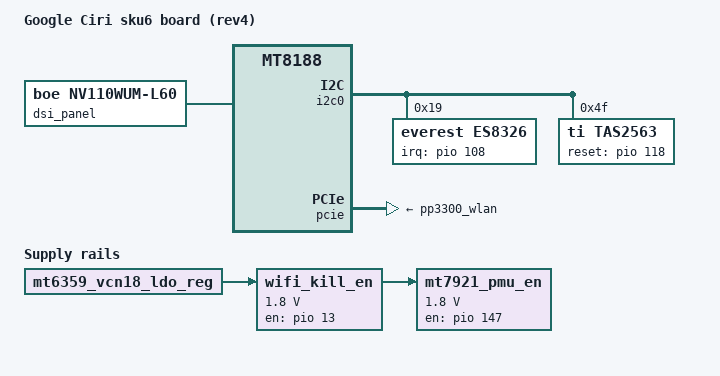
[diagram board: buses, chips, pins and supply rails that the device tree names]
// SPDX-License-Identifier: (GPL-2.0 OR MIT)
/*
 * Copyright 2024 Google LLC
 */
/dts-v1/;
#include "mt8188-geralt-ciri.dtsi"

/ {
	model = "Google Ciri sku6 board (rev4)";
	compatible = "google,ciri-sku6", "google,ciri", "mediatek,mt8188";
};

&dsi_panel {
	compatible = "boe,nv110wum-l60", "himax,hx83102";
};

&i2c0 {
	/delete-node/ audio-codec@1a;
	/delete-node/ amplifier@38;
	/delete-node/ amplifier@39;

	es8326: audio-codec@19 {
		compatible = "everest,es8326";
		reg = <0x19>;
		interrupts-extended = <&pio 108 IRQ_TYPE_LEVEL_LOW>;
		pinctrl-names = "default";
		pinctrl-0 = <&audio_codec_pins>;
		#sound-dai-cells = <0>;
		everest,jack-pol = [0e];
		everest,interrupt-clk = [00];
	};

	tas2563: amplifier@4f {
		compatible = "ti,tas2563", "ti,tas2781";
		reg = <0x4f>, <0x4c>; /* left / right channel */
		reset-gpios = <&pio 118 GPIO_ACTIVE_HIGH>;
		#sound-dai-cells = <0>;
	};
};

&sound {
	compatible = "mediatek,mt8188-es8326";
	model = "mt8188_tas2563_8326";

	audio-routing =
		"ETDM1_OUT", "ETDM_SPK_PIN",
		"ETDM2_OUT", "ETDM_HP_PIN",
		"ETDM1_IN", "ETDM_SPK_PIN",
		"ETDM2_IN", "ETDM_HP_PIN",
		"ADDA Capture", "MTKAIF_PIN",
		"Headphone Jack", "HPOL",
		"Headphone Jack", "HPOR",
		"MIC1", "Headset Mic";

	dai-link-1 {
		codec {
			sound-dai = <&tas2563>;
		};
	};

	dai-link-2 {
		codec {
			sound-dai = <&es8326>;
		};
	};

	dai-link-3 {
		codec {
			sound-dai = <&es8326>;
		};
	};
};

/ {

	wifi_kill_en: regulator-wifi-kill-en {
		compatible = "regulator-fixed";
		regulator-name = "wifi_kill_en";
		regulator-min-microvolt = <1800000>;
		regulator-max-microvolt = <1800000>;
		gpio = <&pio 13 GPIO_ACTIVE_HIGH>;
		enable-active-high;
		vin-supply = <&mt6359_vcn18_ldo_reg>;
	};

	mt7921_pmu_en: regulator-mt7921-pmu-en {
		compatible = "regulator-fixed";
		regulator-name = "mt7921_pmu_en";
		regulator-min-microvolt = <1800000>;
		regulator-max-microvolt = <1800000>;
		gpio = <&pio 147 GPIO_ACTIVE_HIGH>;
		enable-active-high;
		startup-delay-us = <15000>;
		vin-supply = <&wifi_kill_en>;
	};
};

&pcie {
	vpcie3v3-supply = <&pp3300_wlan>;
	vpcie1v8-supply = <&mt7921_pmu_en>;
};
